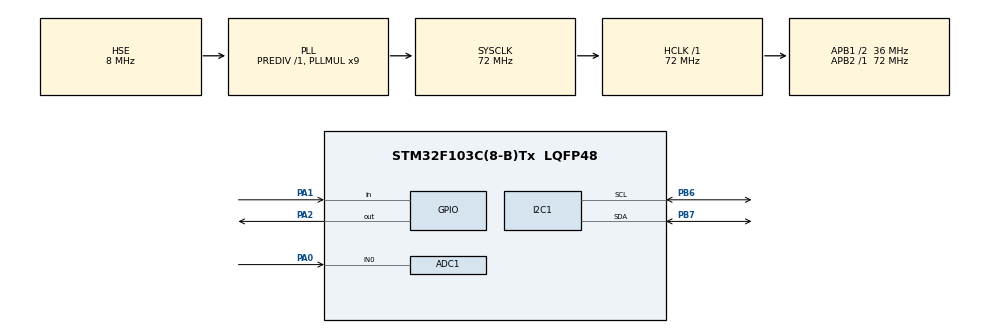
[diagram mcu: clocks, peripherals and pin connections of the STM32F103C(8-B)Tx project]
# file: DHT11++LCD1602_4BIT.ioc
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ADC1.Channel-0\#ChannelRegularConversion=ADC_CHANNEL_0
ADC1.NbrOfConversionFlag=1
ADC1.Rank-0\#ChannelRegularConversion=1
ADC1.SamplingTime-0\#ChannelRegularConversion=ADC_SAMPLETIME_1CYCLE_5
ADC1.master=1
Mcu.Family=STM32F1
Mcu.Name=STM32F103C(8-B)Tx
Mcu.Package=LQFP48
NVIC.PriorityGroup=NVIC_PRIORITYGROUP_4
PA0-WKUP.Signal=ADCx_IN0
PA1.Signal=GPIO_Input
PA13.Mode=Serial_Wire
PA13.Signal=SYS_JTMS-SWDIO
PA14.Mode=Serial_Wire
PA14.Signal=SYS_JTCK-SWCLK
PA2.Signal=GPIO_Output
PB6.Mode=I2C
PB6.Signal=I2C1_SCL
PB7.Mode=I2C
PB7.Signal=I2C1_SDA
PD0-OSC_IN.Mode=HSE-External-Oscillator
PD0-OSC_IN.Signal=RCC_OSC_IN
PD1-OSC_OUT.Mode=HSE-External-Oscillator
PD1-OSC_OUT.Signal=RCC_OSC_OUT
ProjectManager.HeapSize=0x200
ProjectManager.StackSize=0x400
ProjectManager.TargetToolchain=MDK-ARM V5.32
RCC.ADCPresc=RCC_ADCPCLK2_DIV6
RCC.AHBFreq_Value=72000000
RCC.APB1CLKDivider=RCC_HCLK_DIV2
RCC.APB1Freq_Value=36000000
RCC.APB1TimFreq_Value=72000000
RCC.APB2Freq_Value=72000000
RCC.APB2TimFreq_Value=72000000
RCC.HCLKFreq_Value=72000000
RCC.PLLMUL=RCC_PLL_MUL9
RCC.PLLSourceVirtual=RCC_PLLSOURCE_HSE
RCC.SYSCLKFreq_VALUE=72000000
RCC.SYSCLKSource=RCC_SYSCLKSOURCE_PLLCLK
RCC.USBFreq_Value=72000000
SH.ADCx_IN0.0=ADC1_IN0,IN0
TIM1.Prescaler=71
VP_TIM1_VS_ClockSourceINT.Mode=Internal
board=custom

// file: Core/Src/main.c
/* USER CODE BEGIN Header */
/**
  ******************************************************************************
  * @file           : main.c
  * @brief          : Main program body
  ******************************************************************************
  * @attention
  *
  * Copyright (c) 2026 STMicroelectronics.
  * All rights reserved.
  *
  * This software is licensed under terms that can be found in the LICENSE file
  * in the root directory of this software component.
  * If no LICENSE file comes with this software, it is provided AS-IS.
  *
  ******************************************************************************
  */
/* USER CODE END Header */
#include "main.h"

/* USER CODE BEGIN Includes */
#include "i2c_lcd.h"
#include <stdio.h>
/* USER CODE END Includes */

ADC_HandleTypeDef hadc1;

I2C_HandleTypeDef hi2c1;
I2C_LCD_HandleTypeDef lcd1;
char lcdbuff[32];

TIM_HandleTypeDef htim1;

void SystemClock_Config(void);
static void MX_GPIO_Init(void);
static void MX_ADC1_Init(void);
static void MX_TIM1_Init(void);
static void MX_I2C1_Init(void);

/* USER CODE BEGIN 0 */
void delay_us(uint16_t timee_us)
{
	HAL_TIM_Base_Start(&htim1);
	htim1.Instance->CNT=0;
	while(htim1.Instance->CNT<timee_us)
	{
	}
	HAL_TIM_Base_Stop(&htim1);
}
void Set_to_input()
{
	GPIO_InitTypeDef GPIO_InitStruct = {0};
	GPIO_InitStruct.Pin = GPIO_PIN_0;
  GPIO_InitStruct.Mode = GPIO_MODE_INPUT;
  GPIO_InitStruct.Pull = GPIO_PULLUP;
  HAL_GPIO_Init(GPIOA, &GPIO_InitStruct);
}
void Set_to_output()
{
	GPIO_InitTypeDef GPIO_InitStruct = {0};
	GPIO_InitStruct.Pin = GPIO_PIN_0;
  GPIO_InitStruct.Mode = GPIO_MODE_OUTPUT_PP;
  GPIO_InitStruct.Pull = GPIO_PULLUP;
  GPIO_InitStruct.Speed = GPIO_SPEED_FREQ_LOW;
  HAL_GPIO_Init(GPIOA, &GPIO_InitStruct);
}
void DHT11_Start()
{
	Set_to_output();
	HAL_GPIO_WritePin(GPIOA,GPIO_PIN_0,1);
	HAL_GPIO_WritePin(GPIOA,GPIO_PIN_0,0);
	HAL_Delay(20);
	Set_to_input();
	while(HAL_GPIO_ReadPin(GPIOA,GPIO_PIN_0) == 1); // Doi xuong 0
	while(HAL_GPIO_ReadPin(GPIOA,GPIO_PIN_0) == 0); // Doi len 1
	while(HAL_GPIO_ReadPin(GPIOA,GPIO_PIN_0) == 1);

}
uint8_t DHT11_Read_byte()
{
	uint8_t x = 0,i;
	for(i = 0;i<8;i++)
	{
		while(HAL_GPIO_ReadPin(GPIOA,GPIO_PIN_0) == 0){}// Doi len 1
		delay_us(50);
		if(HAL_GPIO_ReadPin(GPIOA,GPIO_PIN_0) == 1)
		{
			x=(x<<1) | (1<<0);
		}
		else
		{
			x=(x<<1) & ~ (0<<0);
		}
		while(HAL_GPIO_ReadPin(GPIOA,GPIO_PIN_0) == 1);
	}
	return x;

}
uint8_t temp;
uint8_t hum;
uint8_t TEMP;
uint8_t HUM;
uint8_t checksum;
void DHT11_HANDLE()
{
	DHT11_Start();

	hum = DHT11_Read_byte();      // Byte 1: �? ?m (g�n v�o hum s? b?ng 63)
	HUM = DHT11_Read_byte();      // Byte 2: Th?p ph�n d? ?m (b?ng 0)
	temp = DHT11_Read_byte();     // Byte 3: Nhi?t d? (g�n v�o temp s? b?ng 29)
	TEMP = DHT11_Read_byte();     // Byte 4: Th?p ph�n nhi?t d? (b?ng 2)
	checksum = DHT11_Read_byte(); // Byte 5: Checksum
}

/* USER CODE END 0 */

int main(void)
{

  /* MCU Configuration--------------------------------------------------------*/

  /* Reset of all peripherals, Initializes the Flash interface and the Systick. */
  HAL_Init();

  /* Configure the system clock */
  SystemClock_Config();

  /* Initialize all configured peripherals */
  MX_GPIO_Init();
  MX_ADC1_Init();
  MX_TIM1_Init();
  MX_I2C1_Init();
  /* USER CODE BEGIN 2 */
	lcd1.hi2c = &hi2c1;
	lcd1.address = 0x4E;
	lcd_init(&lcd1);
	lcd_clear(&lcd1);
	lcd_gotoxy(&lcd1, 0, 0);

  /* USER CODE END 2 */

  /* Infinite loop */
  while (1)
  {

    /* USER CODE BEGIN 3 */
		DHT11_HANDLE();
		sprintf(lcdbuff, "Nhiet do: %d C  ", temp);
    lcd_gotoxy(&lcd1, 0, 1);
    lcd_puts(&lcd1, lcdbuff);
		HAL_Delay(20);
		sprintf(lcdbuff, "Do am: %d %%  ", hum);
    lcd_gotoxy(&lcd1, 0, 0);
    lcd_puts(&lcd1, lcdbuff);

		HAL_Delay(1000);
  }
  /* USER CODE END 3 */
}

void SystemClock_Config(void)
{
  RCC_OscInitTypeDef RCC_OscInitStruct = {0};
  RCC_ClkInitTypeDef RCC_ClkInitStruct = {0};
  RCC_PeriphCLKInitTypeDef PeriphClkInit = {0};

  /** Initializes the RCC Oscillators according to the specified parameters
  * in the RCC_OscInitTypeDef structure.
  */
  RCC_OscInitStruct.OscillatorType = RCC_OSCILLATORTYPE_HSE;
  RCC_OscInitStruct.HSEState = RCC_HSE_ON;
  RCC_OscInitStruct.HSEPredivValue = RCC_HSE_PREDIV_DIV1;
  RCC_OscInitStruct.HSIState = RCC_HSI_ON;
  RCC_OscInitStruct.PLL.PLLState = RCC_PLL_ON;
  RCC_OscInitStruct.PLL.PLLSource = RCC_PLLSOURCE_HSE;
  RCC_OscInitStruct.PLL.PLLMUL = RCC_PLL_MUL9;
  if (HAL_RCC_OscConfig(&RCC_OscInitStruct) != HAL_OK)
  {
    Error_Handler();
  }

  /** Initializes the CPU, AHB and APB buses clocks
  */
  RCC_ClkInitStruct.ClockType = RCC_CLOCKTYPE_HCLK|RCC_CLOCKTYPE_SYSCLK
                              |RCC_CLOCKTYPE_PCLK1|RCC_CLOCKTYPE_PCLK2;
  RCC_ClkInitStruct.SYSCLKSource = RCC_SYSCLKSOURCE_PLLCLK;
  RCC_ClkInitStruct.AHBCLKDivider = RCC_SYSCLK_DIV1;
  RCC_ClkInitStruct.APB1CLKDivider = RCC_HCLK_DIV2;
  RCC_ClkInitStruct.APB2CLKDivider = RCC_HCLK_DIV1;

  if (HAL_RCC_ClockConfig(&RCC_ClkInitStruct, FLASH_LATENCY_2) != HAL_OK)
  {
    Error_Handler();
  }
  PeriphClkInit.PeriphClockSelection = RCC_PERIPHCLK_ADC;
  PeriphClkInit.AdcClockSelection = RCC_ADCPCLK2_DIV6;
  if (HAL_RCCEx_PeriphCLKConfig(&PeriphClkInit) != HAL_OK)
  {
    Error_Handler();
  }
}

static void MX_ADC1_Init(void)
{

  ADC_ChannelConfTypeDef sConfig = {0};

  /** Common config
  */
  hadc1.Instance = ADC1;
  hadc1.Init.ScanConvMode = ADC_SCAN_DISABLE;
  hadc1.Init.ContinuousConvMode = DISABLE;
  hadc1.Init.DiscontinuousConvMode = DISABLE;
  hadc1.Init.ExternalTrigConv = ADC_SOFTWARE_START;
  hadc1.Init.DataAlign = ADC_DATAALIGN_RIGHT;
  hadc1.Init.NbrOfConversion = 1;
  if (HAL_ADC_Init(&hadc1) != HAL_OK)
  {
    Error_Handler();
  }

  /** Configure Regular Channel
  */
  sConfig.Channel = ADC_CHANNEL_0;
  sConfig.Rank = ADC_REGULAR_RANK_1;
  sConfig.SamplingTime = ADC_SAMPLETIME_1CYCLE_5;
  if (HAL_ADC_ConfigChannel(&hadc1, &sConfig) != HAL_OK)
  {
    Error_Handler();
  }

}

static void MX_I2C1_Init(void)
{

  hi2c1.Instance = I2C1;
  hi2c1.Init.ClockSpeed = 100000;
  hi2c1.Init.DutyCycle = I2C_DUTYCYCLE_2;
  hi2c1.Init.OwnAddress1 = 0;
  hi2c1.Init.AddressingMode = I2C_ADDRESSINGMODE_7BIT;
  hi2c1.Init.DualAddressMode = I2C_DUALADDRESS_DISABLE;
  hi2c1.Init.OwnAddress2 = 0;
  hi2c1.Init.GeneralCallMode = I2C_GENERALCALL_DISABLE;
  hi2c1.Init.NoStretchMode = I2C_NOSTRETCH_DISABLE;
  if (HAL_I2C_Init(&hi2c1) != HAL_OK)
  {
    Error_Handler();
  }

}

static void MX_TIM1_Init(void)
{

  TIM_ClockConfigTypeDef sClockSourceConfig = {0};
  TIM_MasterConfigTypeDef sMasterConfig = {0};

  htim1.Instance = TIM1;
  htim1.Init.Prescaler = 71;
  htim1.Init.CounterMode = TIM_COUNTERMODE_UP;
  htim1.Init.Period = 65535;
  htim1.Init.ClockDivision = TIM_CLOCKDIVISION_DIV1;
  htim1.Init.RepetitionCounter = 0;
  htim1.Init.AutoReloadPreload = TIM_AUTORELOAD_PRELOAD_DISABLE;
  if (HAL_TIM_Base_Init(&htim1) != HAL_OK)
  {
    Error_Handler();
  }
  sClockSourceConfig.ClockSource = TIM_CLOCKSOURCE_INTERNAL;
  if (HAL_TIM_ConfigClockSource(&htim1, &sClockSourceConfig) != HAL_OK)
  {
    Error_Handler();
  }
  sMasterConfig.MasterOutputTrigger = TIM_TRGO_RESET;
  sMasterConfig.MasterSlaveMode = TIM_MASTERSLAVEMODE_DISABLE;
  if (HAL_TIMEx_MasterConfigSynchronization(&htim1, &sMasterConfig) != HAL_OK)
  {
    Error_Handler();
  }

}

static void MX_GPIO_Init(void)
{
  GPIO_InitTypeDef GPIO_InitStruct = {0};

  /* GPIO Ports Clock Enable */
  __HAL_RCC_GPIOD_CLK_ENABLE();
  __HAL_RCC_GPIOA_CLK_ENABLE();
  __HAL_RCC_GPIOB_CLK_ENABLE();

  /*Configure GPIO pin Output Level */
  HAL_GPIO_WritePin(GPIOA, GPIO_PIN_2, GPIO_PIN_RESET);

  /*Configure GPIO pin : PA1 */
  GPIO_InitStruct.Pin = GPIO_PIN_1;
  GPIO_InitStruct.Mode = GPIO_MODE_INPUT;
  GPIO_InitStruct.Pull = GPIO_NOPULL;
  HAL_GPIO_Init(GPIOA, &GPIO_InitStruct);

  /*Configure GPIO pin : PA2 */
  GPIO_InitStruct.Pin = GPIO_PIN_2;
  GPIO_InitStruct.Mode = GPIO_MODE_OUTPUT_PP;
  GPIO_InitStruct.Pull = GPIO_NOPULL;
  GPIO_InitStruct.Speed = GPIO_SPEED_FREQ_LOW;
  HAL_GPIO_Init(GPIOA, &GPIO_InitStruct);

}

void Error_Handler(void)
{
  __disable_irq();
  while (1)
  {
  }
}
